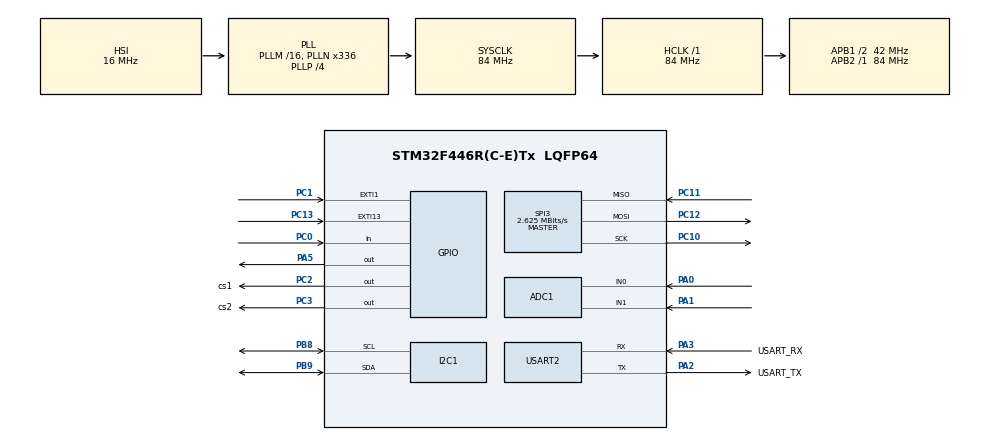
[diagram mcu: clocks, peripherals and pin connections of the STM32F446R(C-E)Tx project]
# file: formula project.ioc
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ADC1.Channel-1\#ChannelRegularConversion=ADC_CHANNEL_0
ADC1.Channel-2\#ChannelRegularConversion=ADC_CHANNEL_1
ADC1.DiscontinuousConvMode=DISABLE
ADC1.NbrOfConversion=2
ADC1.NbrOfConversionFlag=1
ADC1.Rank-1\#ChannelRegularConversion=1
ADC1.Rank-2\#ChannelRegularConversion=2
ADC1.SamplingTime-1\#ChannelRegularConversion=ADC_SAMPLETIME_56CYCLES
ADC1.SamplingTime-2\#ChannelRegularConversion=ADC_SAMPLETIME_56CYCLES
ADC1.master=1
Mcu.Family=STM32F4
Mcu.Name=STM32F446R(C-E)Tx
Mcu.Package=LQFP64
NUCLEO-F446RE.BUTTON=1
NUCLEO-F446RE.LD1=true
NVIC.EXTI15_10_IRQn=true\:0\:0\:false\:false\:true\:false\:true\:true
NVIC.EXTI1_IRQn=true\:0\:0\:false\:false\:true\:true\:true\:true
NVIC.PriorityGroup=NVIC_PRIORITYGROUP_0
PA0-WKUP.Signal=ADCx_IN0
PA1.Signal=ADCx_IN1
PA13.GPIO_Label=TMS
PA13.Signal=SYS_JTMS-SWDIO
PA14.GPIO_Label=TCK
PA14.Signal=SYS_JTCK-SWCLK
PA2.GPIO_Label=USART_TX
PA2.Mode=Asynchronous
PA2.Signal=USART2_TX
PA3.GPIO_Label=USART_RX
PA3.Mode=Asynchronous
PA3.Signal=USART2_RX
PA5.Signal=GPIO_Output
PB3.GPIO_Label=SWO
PB3.Signal=SYS_JTDO-SWO
PB8.Mode=I2C
PB8.Signal=I2C1_SCL
PB9.Mode=I2C
PB9.Signal=I2C1_SDA
PC0.GPIO_PuPd=GPIO_PULLUP
PC0.Signal=GPIO_Input
PC1.GPIO_ModeDefaultEXTI=GPIO_MODE_IT_RISING
PC1.GPIO_PuPd=GPIO_PULLUP
PC1.Signal=GPXTI1
PC10.Mode=Full_Duplex_Master
PC10.Signal=SPI3_SCK
PC11.Mode=Full_Duplex_Master
PC11.Signal=SPI3_MISO
PC12.Mode=Full_Duplex_Master
PC12.Signal=SPI3_MOSI
PC13.Signal=GPXTI13
PC14-OSC32_IN.Signal=RCC_OSC32_IN
PC15-OSC32_OUT.Signal=RCC_OSC32_OUT
PC2.GPIO_Label=cs1
PC2.PinState=GPIO_PIN_SET
PC2.Signal=GPIO_Output
PC3.GPIO_Label=cs2
PC3.PinState=GPIO_PIN_SET
PC3.Signal=GPIO_Output
PH0-OSC_IN.Signal=RCC_OSC_IN
PH1-OSC_OUT.Signal=RCC_OSC_OUT
ProjectManager.HeapSize=0x200
ProjectManager.StackSize=0x400
ProjectManager.TargetToolchain=STM32CubeIDE
RCC.AHBFreq_Value=84000000
RCC.APB1CLKDivider=RCC_HCLK_DIV2
RCC.APB1Freq_Value=42000000
RCC.APB1TimFreq_Value=84000000
RCC.APB2Freq_Value=84000000
RCC.APB2TimFreq_Value=84000000
RCC.CortexFreq_Value=84000000
RCC.FLatency-AdvancedSettings=FLASH_LATENCY_2
RCC.HCLKFreq_Value=84000000
RCC.HSE_VALUE=8000000
RCC.HSI_VALUE=16000000
RCC.LSE_VALUE=32768
RCC.PLLN=336
RCC.PLLP=RCC_PLLP_DIV4
RCC.SYSCLKFreq_VALUE=84000000
RCC.SYSCLKSource=RCC_SYSCLKSOURCE_PLLCLK
RCC.USBFreq_Value=168000000
RCC.VCOOutputFreq_Value=336000000
SH.ADCx_IN0.0=ADC1_IN0,IN0
SH.ADCx_IN1.0=ADC1_IN1,IN1
SPI3.BaudRatePrescaler=SPI_BAUDRATEPRESCALER_16
SPI3.CalculateBaudRate=2.625 MBits/s
SPI3.Direction=SPI_DIRECTION_2LINES
SPI3.Mode=SPI_MODE_MASTER
SPI3.VirtualType=VM_MASTER
USART2.VirtualMode=VM_ASYNC
VP_NUCLEO-F446RE_VS_BSP_COMMON.Mode=COMMON
board=NUCLEO-F446RE

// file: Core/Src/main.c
/* USER CODE BEGIN Header */
/**
  ******************************************************************************
  * @file           : main.c
  * @brief          : Main program body
  ******************************************************************************
  * @attention
  *
  * Copyright (c) 2026 STMicroelectronics.
  * All rights reserved.
  *
  * This software is licensed under terms that can be found in the LICENSE file
  * in the root directory of this software component.
  * If no LICENSE file comes with this software, it is provided AS-IS.
  *
  ******************************************************************************
  */
/* USER CODE END Header */
#include "main.h"

/* USER CODE BEGIN Includes */
#include <math.h>
#include <stdio.h>
#include "main.h"
#include "mcp2515.h"
#include "can_schema.h"
/* USER CODE END Includes */

ADC_HandleTypeDef hadc1;

I2C_HandleTypeDef hi2c1;

SPI_HandleTypeDef hspi3;

UART_HandleTypeDef huart2;

/* USER CODE BEGIN PV */
uint32_t pulse_counter;
uint32_t fault_start_time;
uint8_t fault_was_active;
uint32_t clear_start_time;
uint8_t clearing_in_progress;
uint8_t power_cut_active;
uint32_t prev_pulse_count;
uint32_t prev_time;
float wheel_speed_pps;

/* USER CODE END PV */

void SystemClock_Config(void);
static void MX_GPIO_Init(void);
static void MX_ADC1_Init(void);
static void MX_I2C1_Init(void);
static void MX_SPI3_Init(void);
static void MX_USART2_UART_Init(void);

/* USER CODE BEGIN 0 */

/**
 * @brief Flags whether the current wheel-speed reading should be trusted.
 *
 * Wheel speed (linear) and gyro-Z (yaw rate) measure different physical
 * quantities, so this is not a complementary filter fusing two measurements
 * of the same signal. It's a plausibility check: high yaw rate indicates
 * cornering, during which a single wheel's speed diverges from vehicle
 * speed due to slip, making it a less trustworthy proxy for overall speed.
 *
 * Threshold is a placeholder pending real cornering data from the vehicle;
 * not empirically tuned here since that requires field data unavailable
 * on the bench.
 */
uint8_t get_slip_context(float gyro_z_dps)
{
    const float YAW_RATE_THRESHOLD_DPS = 30.0f;

    if (fabsf(gyro_z_dps) > YAW_RATE_THRESHOLD_DPS)
    {
        return CAN_SLIP_CONTEXT_UNRELIABLE;
    }
    else
    {
        return CAN_SLIP_CONTEXT_TRUSTWORTHY;
    }
}

CAN_Frame pack_safety_frame(uint8_t fault_active, uint8_t power_cut, uint8_t clearing, GPIO_PinState brake)
{
    CAN_Frame frame = { .id = CAN_ID_SAFETY, .dlc = 2 };
    frame.data[0] = 0;
    if (fault_active) frame.data[0] |= CAN_SAFETY_BIT_APPS_FAULT;
    if (power_cut)     frame.data[0] |= CAN_SAFETY_BIT_POWER_CUT;
    if (clearing)      frame.data[0] |= CAN_SAFETY_BIT_CLEARING;
    frame.data[1] = (brake == GPIO_PIN_RESET) ? 1 : 0;  // active-low: RESET means pressed
    return frame;
}

CAN_Frame pack_driver_input_frame(float apps1_pct, float apps2_pct, GPIO_PinState brake)
{
    CAN_Frame frame = { .id = CAN_ID_DRIVER_INPUT, .dlc = 3 };
    frame.data[0] = (uint8_t)apps1_pct;
    frame.data[1] = (uint8_t)apps2_pct;
    frame.data[2] = (brake == GPIO_PIN_RESET) ? 1 : 0;  // active-low: RESET means pressed
    return frame;
}

CAN_Frame pack_motion_frame(float wheel_speed, float gyro_dps, uint8_t slip_flag)
{
    CAN_Frame frame = { .id = CAN_ID_MOTION, .dlc = 5 };

    uint16_t speed_fixed = (uint16_t)wheel_speed;
    frame.data[0] = (speed_fixed >> 8) & 0xFF;
    frame.data[1] = speed_fixed & 0xFF;

    int16_t gyro_fixed = (int16_t)(gyro_dps * 100.0f);
    frame.data[2] = (gyro_fixed >> 8) & 0xFF;
    frame.data[3] = gyro_fixed & 0xFF;

    frame.data[4] = slip_flag;

    return frame;
}

/* USER CODE END 0 */

int main(void)
{

  /* MCU Configuration--------------------------------------------------------*/

  /* Reset of all peripherals, Initializes the Flash interface and the Systick. */
  HAL_Init();

  /* Configure the system clock */
  SystemClock_Config();

  /* Initialize all configured peripherals */
  MX_GPIO_Init();
  MX_ADC1_Init();
  MX_I2C1_Init();
  MX_SPI3_Init();
  MX_USART2_UART_Init();

  /* USER CODE BEGIN 2 */

  char boot_msg[] = "Board booted, UART alive - FALLING EDGE TEST v2\r\n";
  HAL_UART_Transmit(&huart2, (uint8_t*)boot_msg, sizeof(boot_msg) - 1, 100);

  uint8_t who_am_i_result;
  HAL_I2C_Mem_Read(&hi2c1, 0x68 << 1, 0x75, I2C_MEMADD_SIZE_8BIT, &who_am_i_result, 1, 100);

  uint8_t wake_cmd = 0x00;
  HAL_I2C_Mem_Write(&hi2c1, 0x68 << 1, 0x6B, I2C_MEMADD_SIZE_8BIT, &wake_cmd, 1, 100);

  MCP2515_Handle can1 = { .csPort = GPIOC, .csPin = cs1_Pin };

  // Startup self-test: bring up the CAN controller and verify TX/RX via
  // internal loopback before entering the main loop. Retries a bounded
  // number of times to tolerate transient signal issues on the breadboard
  // prototyping platform; halts only if all attempts fail.
  uint8_t can_ready = 0;
  for (uint8_t boot_attempt = 0; boot_attempt < 3 && !can_ready; boot_attempt++)
  {
      can_ready = 1;
      can_ready &= MCP2515_Reset(&hspi3, &can1);
      can_ready &= MCP2515_SetBitTiming(&hspi3, &can1, 0x01, 0xAA, 0x05);  // 125kbps @ 8MHz osc
      can_ready &= MCP2515_SetMode(&hspi3, &can1, MCP2515_MODE_LOOPBACK);

      if (can_ready)
      {
          CAN_Frame tx_frame = { .id = 0x123, .dlc = 2, .data = {0xAB, 0xCD} };
          MCP2515_SendFrame(&hspi3, &can1, &tx_frame);
          HAL_Delay(5);

          CAN_Frame rx_frame;
          MCP2515_ReadFrame(&hspi3, &can1, &rx_frame);

          can_ready = (rx_frame.id == tx_frame.id && rx_frame.dlc == tx_frame.dlc &&
                       rx_frame.data[0] == tx_frame.data[0] && rx_frame.data[1] == tx_frame.data[1]);
      }
  }

  char diag_msg[64];
  int diag_len = snprintf(diag_msg, sizeof(diag_msg), "can_ready=%d\r\n", can_ready);
  HAL_UART_Transmit(&huart2, (uint8_t*)diag_msg, diag_len, 100);

  if (!can_ready)
  {
      Error_Handler();  // CAN self-test failed after retries; do not proceed with an unverified link
  }

  /* USER CODE END 2 */

  /* Initialize leds */
  BSP_LED_Init(LED2);

  /* Initialize USER push-button, will be used to trigger an interrupt each time it's pressed.*/
  BSP_PB_Init(BUTTON_USER, BUTTON_MODE_EXTI);

  /* Infinite loop */
  /* USER CODE BEGIN WHILE */

  uint32_t apps1_raw;
  uint32_t apps2_raw;
  GPIO_PinState brake_state;
  float apps1_pct;
  float apps2_pct;
  uint8_t gyro_z_raw_bytes[2];
  float gyro_z_dps;
  uint32_t current_time;
  uint32_t delta_count;
  uint32_t delta_time;
  uint32_t last_safety_send = 0;
  uint32_t last_driver_send = 0;
  uint32_t last_motion_send = 0;

  while (1)
  {

    /* USER CODE END WHILE */

    /* USER CODE BEGIN 3 */

    HAL_ADC_Start(&hadc1);

    HAL_ADC_PollForConversion(&hadc1, 1);
    apps1_raw = HAL_ADC_GetValue(&hadc1);

    HAL_ADC_PollForConversion(&hadc1, 1);
    apps2_raw = HAL_ADC_GetValue(&hadc1);

    brake_state = HAL_GPIO_ReadPin(GPIOC, GPIO_PIN_0);

    apps1_pct = (apps1_raw / 4095.0) * 100;
    apps2_pct = (apps2_raw / 4095.0) * 100;

    if (fabsf(apps1_pct - apps2_pct) > 10)
    {
        if (fault_was_active == 0)
        {
            fault_start_time = HAL_GetTick();
            fault_was_active = 1;
            clearing_in_progress = 0;
        }
        else
        {
            if (HAL_GetTick() - fault_start_time > 100)
            {
                power_cut_active = 1;
            }
        }
    }
    else
    {
        fault_was_active = 0;

        if (power_cut_active == 1)
        {
            if (clearing_in_progress == 0)
            {
                clear_start_time = HAL_GetTick();
                clearing_in_progress = 1;
            }
            else
            {
                if (HAL_GetTick() - clear_start_time > 100)
                {
                    power_cut_active = 0;
                    clearing_in_progress = 0;
                }
            }
        }
    }
    HAL_I2C_Mem_Read(&hi2c1, 0x68 << 1, 0x47, I2C_MEMADD_SIZE_8BIT, gyro_z_raw_bytes, 2, 100);
    int16_t gyro_z_raw = (gyro_z_raw_bytes[0] << 8) | gyro_z_raw_bytes[1];
    gyro_z_dps = gyro_z_raw / 131.0;

    current_time = HAL_GetTick();

    if (current_time - prev_time >= 100)
    {
        delta_count = pulse_counter - prev_pulse_count;
        delta_time = current_time - prev_time;

        wheel_speed_pps = (delta_count * 1000.0) / delta_time;

        prev_pulse_count = pulse_counter;
        prev_time = current_time;
    }

    uint8_t slip_context = get_slip_context(gyro_z_dps);

    // Safety frame: event-driven (fault state changed) OR periodic heartbeat
    static uint8_t prev_fault_state = 0;
    uint8_t current_fault_state = fault_was_active | (power_cut_active << 1) | (clearing_in_progress << 2);
    uint8_t safety_state_changed = (current_fault_state != prev_fault_state);

    if (safety_state_changed || (current_time - last_safety_send >= CAN_INTERVAL_SAFETY_MS))
    {
        CAN_Frame safety_frame = pack_safety_frame(fault_was_active, power_cut_active, clearing_in_progress, brake_state);
        MCP2515_SendFrame(&hspi3, &can1, &safety_frame);
        last_safety_send = current_time;
        prev_fault_state = current_fault_state;
    }

    if (current_time - last_driver_send >= CAN_INTERVAL_DRIVER_INPUT_MS)
    {
        CAN_Frame driver_frame = pack_driver_input_frame(apps1_pct, apps2_pct, brake_state);
        MCP2515_SendFrame(&hspi3, &can1, &driver_frame);
        last_driver_send = current_time;
    }

    if (current_time - last_motion_send >= CAN_INTERVAL_MOTION_MS)
    {
        CAN_Frame motion_frame = pack_motion_frame(wheel_speed_pps, gyro_z_dps, slip_context);
        MCP2515_SendFrame(&hspi3, &can1, &motion_frame);
        last_motion_send = current_time;
    }

    char uart_buf[128];
    int len = snprintf(uart_buf, sizeof(uart_buf),
        "APPS1:%.1f APPS2:%.1f BRAKE:%d FAULT:%d PCUT:%d WSPD:%.1f GYRO:%.2f SLIP:%d\r\n",
        apps1_pct, apps2_pct, (brake_state == GPIO_PIN_RESET) ? 1 : 0,
        fault_was_active, power_cut_active, wheel_speed_pps, gyro_z_dps, slip_context);
    HAL_UART_Transmit(&huart2, (uint8_t*)uart_buf, len, 100);
  /* USER CODE END 3 */
  }
}

void SystemClock_Config(void)
{
  RCC_OscInitTypeDef RCC_OscInitStruct = {0};
  RCC_ClkInitTypeDef RCC_ClkInitStruct = {0};

  /** Configure the main internal regulator output voltage
  */
  __HAL_RCC_PWR_CLK_ENABLE();
  __HAL_PWR_VOLTAGESCALING_CONFIG(PWR_REGULATOR_VOLTAGE_SCALE3);

  /** Initializes the RCC Oscillators according to the specified parameters
  * in the RCC_OscInitTypeDef structure.
  */
  RCC_OscInitStruct.OscillatorType = RCC_OSCILLATORTYPE_HSI;
  RCC_OscInitStruct.HSIState = RCC_HSI_ON;
  RCC_OscInitStruct.HSICalibrationValue = RCC_HSICALIBRATION_DEFAULT;
  RCC_OscInitStruct.PLL.PLLState = RCC_PLL_ON;
  RCC_OscInitStruct.PLL.PLLSource = RCC_PLLSOURCE_HSI;
  RCC_OscInitStruct.PLL.PLLM = 16;
  RCC_OscInitStruct.PLL.PLLN = 336;
  RCC_OscInitStruct.PLL.PLLP = RCC_PLLP_DIV4;
  RCC_OscInitStruct.PLL.PLLQ = 2;
  RCC_OscInitStruct.PLL.PLLR = 2;
  if (HAL_RCC_OscConfig(&RCC_OscInitStruct) != HAL_OK)
  {
    Error_Handler();
  }

  /** Initializes the CPU, AHB and APB buses clocks
  */
  RCC_ClkInitStruct.ClockType = RCC_CLOCKTYPE_HCLK|RCC_CLOCKTYPE_SYSCLK
                              |RCC_CLOCKTYPE_PCLK1|RCC_CLOCKTYPE_PCLK2;
  RCC_ClkInitStruct.SYSCLKSource = RCC_SYSCLKSOURCE_PLLCLK;
  RCC_ClkInitStruct.AHBCLKDivider = RCC_SYSCLK_DIV1;
  RCC_ClkInitStruct.APB1CLKDivider = RCC_HCLK_DIV2;
  RCC_ClkInitStruct.APB2CLKDivider = RCC_HCLK_DIV1;

  if (HAL_RCC_ClockConfig(&RCC_ClkInitStruct, FLASH_LATENCY_2) != HAL_OK)
  {
    Error_Handler();
  }
}

static void MX_ADC1_Init(void)
{

  ADC_ChannelConfTypeDef sConfig = {0};

  /** Configure the global features of the ADC (Clock, Resolution, Data Alignment and number of conversion)
  */
  hadc1.Instance = ADC1;
  hadc1.Init.ClockPrescaler = ADC_CLOCK_SYNC_PCLK_DIV4;
  hadc1.Init.Resolution = ADC_RESOLUTION_12B;
  hadc1.Init.ScanConvMode = ENABLE;
  hadc1.Init.ContinuousConvMode = DISABLE;
  hadc1.Init.DiscontinuousConvMode = DISABLE;
  hadc1.Init.ExternalTrigConvEdge = ADC_EXTERNALTRIGCONVEDGE_NONE;
  hadc1.Init.ExternalTrigConv = ADC_SOFTWARE_START;
  hadc1.Init.DataAlign = ADC_DATAALIGN_RIGHT;
  hadc1.Init.NbrOfConversion = 2;
  hadc1.Init.DMAContinuousRequests = DISABLE;
  hadc1.Init.EOCSelection = ADC_EOC_SINGLE_CONV;
  if (HAL_ADC_Init(&hadc1) != HAL_OK)
  {
    Error_Handler();
  }

  /** Configure for the selected ADC regular channel its corresponding rank in the sequencer and its sample time.
  */
  sConfig.Channel = ADC_CHANNEL_0;
  sConfig.Rank = 1;
  sConfig.SamplingTime = ADC_SAMPLETIME_56CYCLES;
  if (HAL_ADC_ConfigChannel(&hadc1, &sConfig) != HAL_OK)
  {
    Error_Handler();
  }

  /** Configure for the selected ADC regular channel its corresponding rank in the sequencer and its sample time.
  */
  sConfig.Channel = ADC_CHANNEL_1;
  sConfig.Rank = 2;
  if (HAL_ADC_ConfigChannel(&hadc1, &sConfig) != HAL_OK)
  {
    Error_Handler();
  }

}

static void MX_I2C1_Init(void)
{

  hi2c1.Instance = I2C1;
  hi2c1.Init.ClockSpeed = 100000;
  hi2c1.Init.DutyCycle = I2C_DUTYCYCLE_2;
  hi2c1.Init.OwnAddress1 = 0;
  hi2c1.Init.AddressingMode = I2C_ADDRESSINGMODE_7BIT;
  hi2c1.Init.DualAddressMode = I2C_DUALADDRESS_DISABLE;
  hi2c1.Init.OwnAddress2 = 0;
  hi2c1.Init.GeneralCallMode = I2C_GENERALCALL_DISABLE;
  hi2c1.Init.NoStretchMode = I2C_NOSTRETCH_DISABLE;
  if (HAL_I2C_Init(&hi2c1) != HAL_OK)
  {
    Error_Handler();
  }

}

static void MX_SPI3_Init(void)
{

  /* SPI3 parameter configuration*/
  hspi3.Instance = SPI3;
  hspi3.Init.Mode = SPI_MODE_MASTER;
  hspi3.Init.Direction = SPI_DIRECTION_2LINES;
  hspi3.Init.DataSize = SPI_DATASIZE_8BIT;
  hspi3.Init.CLKPolarity = SPI_POLARITY_LOW;
  hspi3.Init.CLKPhase = SPI_PHASE_1EDGE;
  hspi3.Init.NSS = SPI_NSS_SOFT;
  hspi3.Init.BaudRatePrescaler = SPI_BAUDRATEPRESCALER_16;
  hspi3.Init.FirstBit = SPI_FIRSTBIT_MSB;
  hspi3.Init.TIMode = SPI_TIMODE_DISABLE;
  hspi3.Init.CRCCalculation = SPI_CRCCALCULATION_DISABLE;
  hspi3.Init.CRCPolynomial = 10;
  if (HAL_SPI_Init(&hspi3) != HAL_OK)
  {
    Error_Handler();
  }

}

static void MX_USART2_UART_Init(void)
{

  huart2.Instance = USART2;
  huart2.Init.BaudRate = 115200;
  huart2.Init.WordLength = UART_WORDLENGTH_8B;
  huart2.Init.StopBits = UART_STOPBITS_1;
  huart2.Init.Parity = UART_PARITY_NONE;
  huart2.Init.Mode = UART_MODE_TX_RX;
  huart2.Init.HwFlowCtl = UART_HWCONTROL_NONE;
  huart2.Init.OverSampling = UART_OVERSAMPLING_16;
  if (HAL_UART_Init(&huart2) != HAL_OK)
  {
    Error_Handler();
  }

}

static void MX_GPIO_Init(void)
{
  GPIO_InitTypeDef GPIO_InitStruct = {0};

  /* GPIO Ports Clock Enable */
  __HAL_RCC_GPIOC_CLK_ENABLE();
  __HAL_RCC_GPIOH_CLK_ENABLE();
  __HAL_RCC_GPIOA_CLK_ENABLE();
  __HAL_RCC_GPIOB_CLK_ENABLE();

  /*Configure GPIO pin Output Level */
  HAL_GPIO_WritePin(GPIOC, cs1_Pin|cs2_Pin, GPIO_PIN_SET);

  /*Configure GPIO pin : PC0 */
  GPIO_InitStruct.Pin = GPIO_PIN_0;
  GPIO_InitStruct.Mode = GPIO_MODE_INPUT;
  GPIO_InitStruct.Pull = GPIO_PULLUP;
  HAL_GPIO_Init(GPIOC, &GPIO_InitStruct);

  /*Configure GPIO pin : PC1 */
  GPIO_InitStruct.Pin = GPIO_PIN_1;
  GPIO_InitStruct.Mode = GPIO_MODE_IT_FALLING;
  GPIO_InitStruct.Pull = GPIO_PULLUP;
  HAL_GPIO_Init(GPIOC, &GPIO_InitStruct);

  /*Configure GPIO pins : cs1_Pin cs2_Pin */
  GPIO_InitStruct.Pin = cs1_Pin|cs2_Pin;
  GPIO_InitStruct.Mode = GPIO_MODE_OUTPUT_PP;
  GPIO_InitStruct.Pull = GPIO_NOPULL;
  GPIO_InitStruct.Speed = GPIO_SPEED_FREQ_LOW;
  HAL_GPIO_Init(GPIOC, &GPIO_InitStruct);

  /* EXTI interrupt init*/
  HAL_NVIC_SetPriority(EXTI1_IRQn, 0, 0);
  HAL_NVIC_EnableIRQ(EXTI1_IRQn);

}

/* USER CODE BEGIN 4 */
void HAL_GPIO_EXTI_Callback(uint16_t GPIO_Pin)
{
    pulse_counter++;
    char msg[] = "PULSE DETECTED\r\n";
    HAL_UART_Transmit(&huart2, (uint8_t*)msg, sizeof(msg) - 1, 100);
}

/* USER CODE END 4 */

void Error_Handler(void)
{
  __disable_irq();
  while (1)
  {
  }
}
